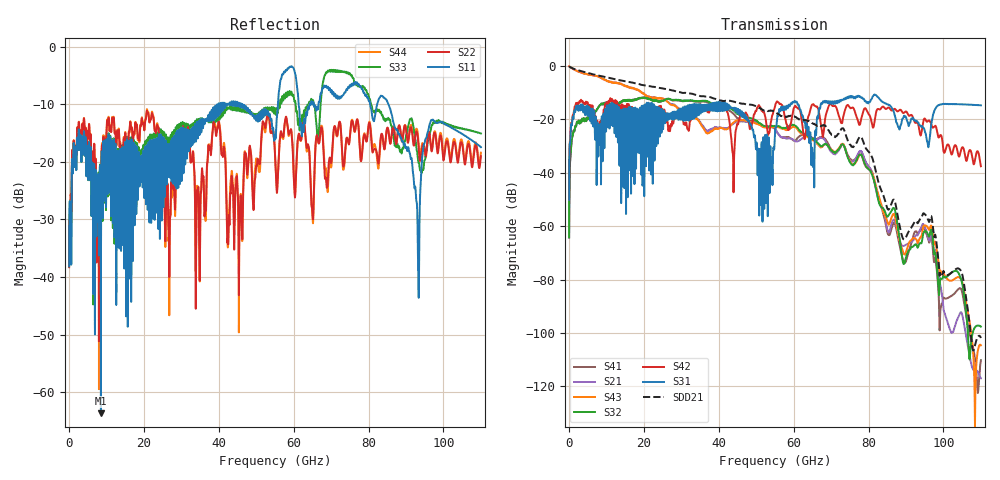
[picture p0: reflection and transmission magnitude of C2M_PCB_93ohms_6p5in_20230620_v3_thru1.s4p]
! Info: Touchstone file created by Circ.  Input file=C2M_PCB_93ohms_6p5in_20230620_v3.circ
# Hz S RI R 50
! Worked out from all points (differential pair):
!   11000 points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, 10 MHz to 110 GHz, reference 50 ohm
!   strongest paths, dB at 10 MHz, 27.51 GHz, 55.01 GHz, 82.51 GHz, 110 GHz:
!     S31: -50.1, -18.7, -25.2, -11.7, -14.8
!     S42: -50.0, -21.1, -15.0, -16.1, -37.6
!     S32: -64.2, -12.7, -22.6, -49.7, -97.6
!     S43: -0.1, -14.7, -22.9, -47.8, -104.7
!     S21: -0.1, -14.4, -23.6, -49.6, -117.0
!     S41: -64.2, -12.9, -23.7, -48.5, -110.2
!   taken as a pair (ports 3,1 in; 4,2 out), SDD21 dB: -0.1, -9.2, -17.2, -42.9, -101.9
!   lowest |S11| = -63.7 dB at 8.5 GHz (marker M1), VSWR 1.00, Z = 50 + j0.0522 ohm
!   |S11| at or under -10 dB: start of sweep to 39.91 GHz; 46.31 GHz to 55.77 GHz (9.452 GHz wide, 18.5 % of centre); 85.3 GHz to end of sweep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
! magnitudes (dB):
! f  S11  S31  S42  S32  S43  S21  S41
! 10 MHz  -38.2  -50.1  -50.0  -64.2  -0.1  -0.1  -64.2
! 1.58 GHz  -18.3  -17.4  -15.2  -23.0  -1.5  -1.5  -23.0
! 8.5 GHz  -63.7  -31.7  -22.9  -14.3  -4.4  -4.4  -14.3
! 65.1 GHz  -9.9  -37.1  -14.4  -27.4  -27.8  -27.4  -27.0
! 77.93 GHz  -7.0  -11.9  -20.5  -33.2  -33.3  -31.8  -32.0
! 89.47 GHz  -17.0  -18.7  -17.6  -74.2  -70.5  -67.4  -73.7
! 110 GHz  -17.5  -14.8  -37.6  -97.6  -104.7  -117.0  -110.2
